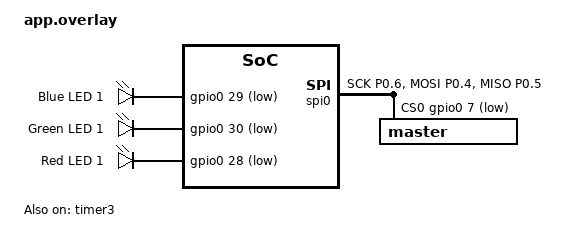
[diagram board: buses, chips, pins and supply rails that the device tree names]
/ {
	chosen {
		zephyr,bt-hci = &bt_hci_controller;
	};

	/* Configure DTS nodes used for USB next HID support. */
	// hid_dev_0: hid_dev_0 {
		//     compatible = "zephyr,hid-device";
		//     interface-name = "HID0";
		//     protocol-code = "none";
		//     in-polling-period-us = <1000>;
		//     in-report-size = <64>;
	// };
	// hid_dev_1: hid_dev_1 {
		//     compatible = "zephyr,hid-device";
		//     interface-name = "HID1";
		//     protocol-code = "none";
		//     in-polling-period-us = <1000>;
		//     in-report-size = <64>;
	// };

	gpioled0 {
		compatible = "gpio-leds";
		status = "okay";
		label = "LED Peer State";

		led1_b: led_1 {
			gpios = <&gpio0 29 GPIO_ACTIVE_LOW>;
			label = "Blue LED 1";
		};
		led1_g: led_2 {
			gpios = <&gpio0 30 GPIO_ACTIVE_LOW>;
			label = "Green LED 1";
		};
		led1_r: led_3 {
			gpios = <&gpio0 28 GPIO_ACTIVE_LOW>;
			label = "Red LED 1";
		};

	};
	leds {
		status = "okay";
	};

	/* These aliases are provided for compatibility with samples */
	aliases {
		led1 = &led1_b;
		led2 = &led1_g;
		led3 = &led1_r;
		led1-red   = &led1_r;
		led1-green = &led1_g;
		led1-blue  = &led1_b;
		watchdog0 = &wdt0;
	};
};


// By default uart1 will occupy P1.01 and P1.02. In order to make these pins available, disable uart1
// &uart1 {
	//     status = "disabled";
// };

// &bt_hci_controller {
	//     status = "okay";
// };

&bt_hci_sdc {
	status = "disabled";
};

&pinctrl {

	spi0_default: spi0_default {
		group1 {
			psels = <NRF_PSEL(SPIM_SCK, 0, 6)>,
			        <NRF_PSEL(SPIM_MOSI, 0, 4)>,
			        <NRF_PSEL(SPIM_MISO, 0, 5)>;
		};
	};

	spi0_sleep: spi0_sleep {
		group1 {
			psels = <NRF_PSEL(SPIM_SCK, 0, 6)>,
			        <NRF_PSEL(SPIM_MOSI, 0, 4)>,
			        <NRF_PSEL(SPIM_MISO, 0, 5)>;
			low-power-enable;
		};
	};
};

&spi0 {
	compatible = "nordic,nrf-spim";
	status = "okay";
	pinctrl-0 = <&spi0_default>;
	pinctrl-1 = <&spi0_sleep>;
	pinctrl-names = "default", "sleep";
	cs-gpios = <&gpio0 7 GPIO_ACTIVE_LOW>;
	// max-frequency = <8000000>;
	master: master@0 {
		reg = <0>;
	};
};

&timer3 {
	status = "okay";
};
